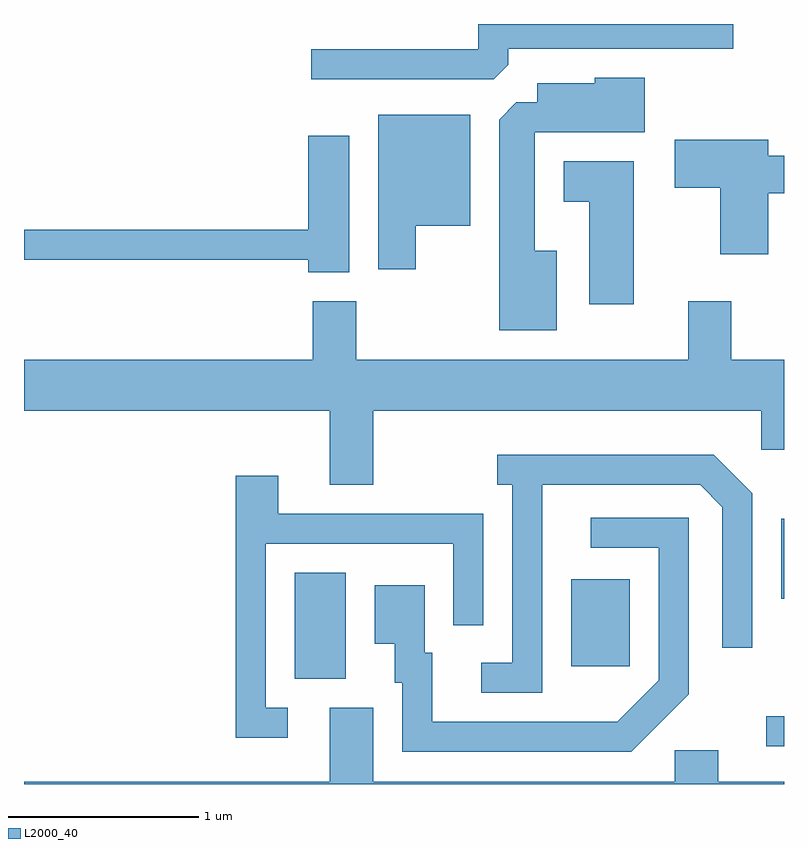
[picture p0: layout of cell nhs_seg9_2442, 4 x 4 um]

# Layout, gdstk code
import gdstk
lib = gdstk.Library(unit=1e-6, precision=1e-09)
def R(c, l, rs):  # rectangles x0, y0, x1, y1
    for r in rs: c.add(gdstk.rectangle(r[:2], r[2:], *l))
def P(c, l, *ps):  # polygons
    for p in ps: c.add(gdstk.Polygon(p, *l))
L2000_40 = (2000, 40)

nhs_seg9_2442 = lib.new_cell('nhs_seg9_2442')
R(nhs_seg9_2442, L2000_40, [(259.517,2076.631,259.611,2076.789), (257.036,2076.986,257.304,2077.544), (258.491,2077.051,258.799,2077.509), (259.596,2077.406,259.611,2077.829)])
P(nhs_seg9_2442, L2000_40, [(258.159,2080.217),(258.159,2080.301),(259.343,2080.301),(259.343,2080.432),(258.001,2080.432),(258.001,2080.299),(257.123,2080.299),(257.123,2080.141),(258.084,2080.141)],
  [(258.414,2079.239),(258.299,2079.239),(258.299,2079.861),(258.879,2079.861),(258.879,2080.149),(258.616,2080.149),(258.616,2080.119),(258.311,2080.119),(258.311,2080.019),(258.202,2080.019),(258.111,2079.929),(258.111,2078.821),(258.414,2078.821)],
  [(257.674,2079.371),(257.959,2079.371),(257.959,2079.954),(257.476,2079.954),(257.476,2079.141),(257.674,2079.141)],
  [(257.324,2079.844),(257.106,2079.844),(257.106,2079.349),(255.611,2079.349),(255.611,2079.191),(257.106,2079.191),(257.106,2079.126),(257.324,2079.126)],
  [(259.529,2079.541),(259.611,2079.541),(259.611,2079.739),(259.529,2079.739),(259.529,2079.824),(259.036,2079.824),(259.036,2079.571),(259.276,2079.571),(259.276,2079.221),(259.529,2079.221)],
  [(258.819,2079.709),(258.451,2079.709),(258.451,2079.496),(258.586,2079.496),(258.586,2078.956),(258.819,2078.956)],
  [(257.449,2078.396),(259.491,2078.396),(259.491,2078.191),(259.611,2078.191),(259.611,2078.664),(259.334,2078.664),(259.334,2078.974),(259.106,2078.974),(259.106,2078.664),(257.359,2078.664),(257.359,2078.974),(257.131,2078.974),(257.131,2078.664),(255.611,2078.664),(255.611,2078.396),(257.221,2078.396),(257.221,2078.006),(257.449,2078.006)],
  [(258.339,2078.006),(259.169,2078.006),(259.286,2077.889),(259.286,2077.148),(259.444,2077.148),(259.444,2077.962),(259.242,2078.164),(258.103,2078.164),(258.103,2078.006),(258.181,2078.006),(258.181,2077.069),(258.017,2077.069),(258.017,2076.911),(258.339,2076.911)],
  [(256.998,2076.834),(256.884,2076.834),(256.884,2077.696),(257.871,2077.696),(257.871,2077.268),(258.029,2077.268),(258.029,2077.854),(256.949,2077.854),(256.949,2078.054),(256.726,2078.054),(256.726,2076.676),(256.998,2076.676)],
  [(259.109,2076.904),(259.109,2077.834),(258.593,2077.834),(258.593,2077.676),(258.951,2077.676),(258.951,2076.977),(258.734,2076.759),(257.759,2076.759),(257.759,2077.124),(257.719,2077.124),(257.719,2077.479),(257.456,2077.479),(257.456,2077.171),(257.561,2077.171),(257.561,2076.966),(257.601,2076.966),(257.601,2076.601),(258.807,2076.601)],
  [(259.611,2076.444),(259.264,2076.444),(259.264,2076.609),(259.036,2076.609),(259.036,2076.444),(257.449,2076.444),(257.449,2076.834),(257.221,2076.834),(257.221,2076.444),(255.611,2076.444),(255.611,2076.432),(259.611,2076.432)])

lib.write_gds('nhs_seg9_2442.gds')
